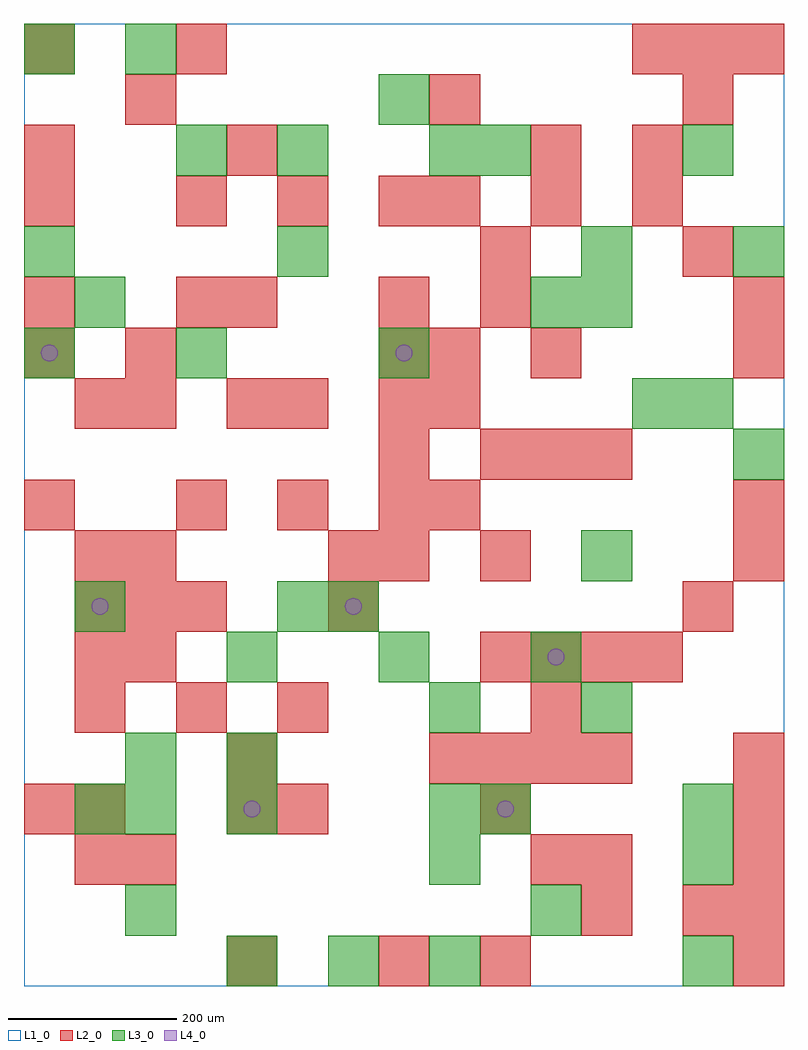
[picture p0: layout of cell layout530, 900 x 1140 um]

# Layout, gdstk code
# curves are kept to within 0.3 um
import gdstk
lib = gdstk.Library(unit=1e-6, precision=1e-09)
def R(c, l, rs):  # rectangles x0, y0, x1, y1
    for r in rs: c.add(gdstk.rectangle(r[:2], r[2:], *l))
def A(c, l, x, y, w, h, nx, ny, dx, dy):  # array of equal rectangles
    R(c, l, [(x+i*dx, y+j*dy, x+i*dx+w, y+j*dy+h) for i in range(nx) for j in range(ny)])
def P(c, l, *ps):  # polygons
    for p in ps: c.add(gdstk.Polygon(p, *l))
L1_0 = (1, 0)
L2_0 = (2, 0)
L3_0 = (3, 0)
L4_0 = (4, 0)

layout530 = lib.new_cell('layout530')
R(layout530, L1_0, [(0,0,900,1140)])
A(layout530, L2_0, 840, 0, 60, 60, 1, 5, 0, 60)
A(layout530, L2_0, 540, 180, 60, 60, 1, 3, 0, 300)
A(layout530, L2_0, 480, 240, 60, 60, 4, 1, 60, 0)
A(layout530, L2_0, 60, 300, 60, 60, 3, 1, 120, 0)
A(layout530, L2_0, 540, 360, 60, 60, 4, 1, 60, 0)
A(layout530, L2_0, 60, 420, 60, 60, 3, 1, 60, 0)
A(layout530, L2_0, 180, 540, 60, 60, 3, 2, 120, 360)
A(layout530, L2_0, 420, 600, 60, 60, 1, 4, 0, 60)
A(layout530, L2_0, 540, 600, 60, 60, 3, 1, 60, 0)
A(layout530, L2_0, 480, 900, 60, 60, 3, 1, 120, 0)
A(layout530, L2_0, 720, 1080, 60, 60, 3, 1, 60, 0)
R(layout530, L2_0, [(240,0,300,60), (420,0,480,60), (540,0,600,60), (660,60,720,120), (780,60,840,120), (60,120,120,180), (120,120,180,180), (600,120,660,180), (660,120,720,180), (0,180,60,240), (60,180,120,240), (240,180,300,240), (300,180,360,240), (240,240,300,300), (600,300,660,360), (60,360,120,420), (120,360,180,420), (360,420,420,480), (780,420,840,480), (60,480,120,540), (120,480,180,540), (360,480,420,540), (420,480,480,540), (840,480,900,540), (0,540,60,600), (480,540,540,600), (840,540,900,600), (60,660,120,720), (120,660,180,720), (240,660,300,720), (300,660,360,720), (480,660,540,720), (0,720,60,780), (120,720,180,780), (480,720,540,780), (600,720,660,780), (840,720,900,780), (0,780,60,840), (180,780,240,840), (240,780,300,840), (840,780,900,840), (540,840,600,900), (780,840,840,900), (0,900,60,960), (0,960,60,1020), (240,960,300,1020), (600,960,660,1020), (720,960,780,1020), (120,1020,180,1080), (480,1020,540,1080), (780,1020,840,1080), (0,1080,60,1140), (180,1080,240,1140)])
A(layout530, L3_0, 240, 0, 60, 60, 3, 1, 120, 0)
A(layout530, L3_0, 240, 360, 60, 60, 3, 1, 180, 0)
R(layout530, L3_0, [(780,0,840,60), (120,60,180,120), (600,60,660,120), (480,120,540,180), (780,120,840,180), (60,180,120,240), (120,180,180,240), (240,180,300,240), (480,180,540,240), (540,180,600,240), (780,180,840,240), (120,240,180,300), (240,240,300,300), (480,300,540,360), (660,300,720,360), (60,420,120,480), (300,420,360,480), (360,420,420,480), (660,480,720,540), (840,600,900,660), (720,660,780,720), (780,660,840,720), (0,720,60,780), (180,720,240,780), (420,720,480,780), (60,780,120,840), (600,780,660,840), (660,780,720,840), (0,840,60,900), (300,840,360,900), (660,840,720,900), (840,840,900,900), (180,960,240,1020), (300,960,360,1020), (480,960,540,1020), (540,960,600,1020), (780,960,840,1020), (420,1020,480,1080), (0,1080,60,1140), (120,1080,180,1140)])
P(layout530, L4_0, [(40,750),(39.239,753.827),(37.071,757.071),(33.827,759.239),(30,760),(26.173,759.239),(22.929,757.071),(20.761,753.827),(20,750),(20.761,746.173),(22.929,742.929),(26.173,740.761),(30,740),(33.827,740.761),(37.071,742.929),(39.239,746.173)],
  [(100,450),(99.239,453.827),(97.071,457.071),(93.827,459.239),(90,460),(86.173,459.239),(82.929,457.071),(80.761,453.827),(80,450),(80.761,446.173),(82.929,442.929),(86.173,440.761),(90,440),(93.827,440.761),(97.071,442.929),(99.239,446.173)],
  [(280,210),(279.239,213.827),(277.071,217.071),(273.827,219.239),(270,220),(266.173,219.239),(262.929,217.071),(260.761,213.827),(260,210),(260.761,206.173),(262.929,202.929),(266.173,200.761),(270,200),(273.827,200.761),(277.071,202.929),(279.239,206.173)],
  [(400,450),(399.239,453.827),(397.071,457.071),(393.827,459.239),(390,460),(386.173,459.239),(382.929,457.071),(380.761,453.827),(380,450),(380.761,446.173),(382.929,442.929),(386.173,440.761),(390,440),(393.827,440.761),(397.071,442.929),(399.239,446.173)],
  [(460,750),(459.239,753.827),(457.071,757.071),(453.827,759.239),(450,760),(446.173,759.239),(442.929,757.071),(440.761,753.827),(440,750),(440.761,746.173),(442.929,742.929),(446.173,740.761),(450,740),(453.827,740.761),(457.071,742.929),(459.239,746.173)],
  [(580,210),(579.239,213.827),(577.071,217.071),(573.827,219.239),(570,220),(566.173,219.239),(562.929,217.071),(560.761,213.827),(560,210),(560.761,206.173),(562.929,202.929),(566.173,200.761),(570,200),(573.827,200.761),(577.071,202.929),(579.239,206.173)],
  [(640,390),(639.239,393.827),(637.071,397.071),(633.827,399.239),(630,400),(626.173,399.239),(622.929,397.071),(620.761,393.827),(620,390),(620.761,386.173),(622.929,382.929),(626.173,380.761),(630,380),(633.827,380.761),(637.071,382.929),(639.239,386.173)])

lib.write_gds('layout530.gds')
